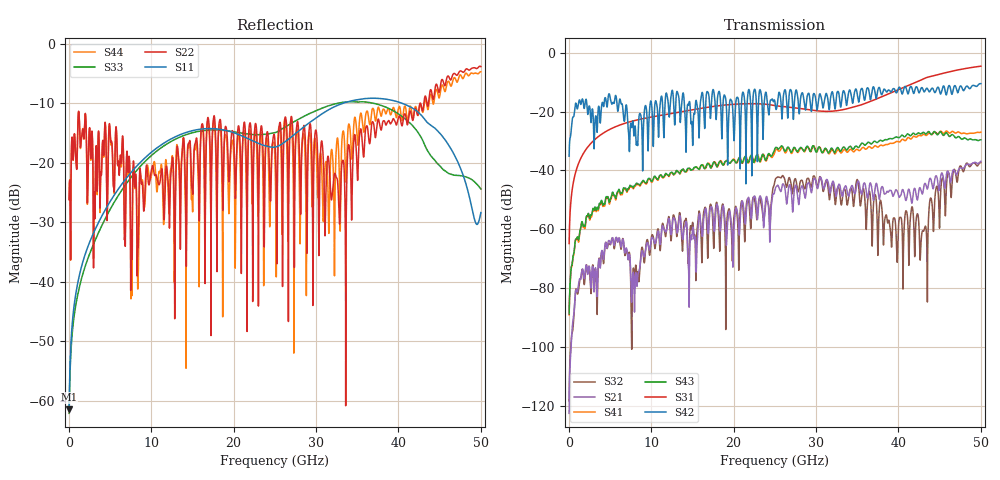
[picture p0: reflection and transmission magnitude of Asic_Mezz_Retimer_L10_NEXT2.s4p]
! Created Fri Jun 28 09:33:41 2019
# hz S ma R 50
! 4 Port Network Data from SP1.SP block
! freq  magS11  angS11  magS12  angS12  magS13  angS13  magS14  angS14
!  magS21  angS21  magS22  angS22  magS23  angS23  magS24  angS24
!  magS31  angS31  magS32  angS32  magS33  angS33  magS34  angS34
!  magS41  angS41  magS42  angS42  magS43  angS43  magS44  angS44
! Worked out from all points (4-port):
!   4996 points, 50 MHz to 50 GHz, reference 50 ohm
!   strongest paths, dB at 50 MHz, 12.54 GHz, 25.03 GHz, 37.52 GHz, 50 GHz:
!     S42: -35.1, -12.8, -17.0, -12.5, -10.5
!     S31: -64.8, -20.6, -18.0, -15.5, -4.6
!     S43: -88.6, -40.6, -32.5, -30.4, -29.6
!     S41: -89.0, -40.7, -33.5, -32.1, -27.0
!     S21: -122.5, -59.2, -46.5, -47.1, -36.9
!     S32: -118.3, -59.0, -43.4, -67.2, -37.3
!   lowest |S11| = -61.5 dB at 50 MHz (marker M1), VSWR 1.00, Z = 50.1 + j0.0632 ohm
!   |S11| at or under -10 dB: start of sweep to 33.25 GHz; 40.46 GHz to end of sweep
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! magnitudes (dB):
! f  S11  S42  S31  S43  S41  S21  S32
! 50 MHz  -61.5  -35.1  -64.8  -88.6  -89.0  -122.5  -118.3
! 2.73 GHz  -32.7  -23.2  -30.7  -55.1  -55.6  -79.2  -81.1
! 13.39 GHz  -15.3  -16.0  -20.2  -40.8  -40.8  -56.3  -55.0
! 14.65 GHz  -14.7  -16.6  -19.6  -39.3  -39.3  -72.9  -65.1
! 29.77 GHz  -12.7  -13.9  -19.6  -32.0  -31.7  -42.8  -41.9
! 42.77 GHz  -12.0  -12.0  -9.3  -27.5  -28.2  -47.0  -63.2
! 50 GHz  -28.4  -10.5  -4.6  -29.6  -27.0  -36.9  -37.3
